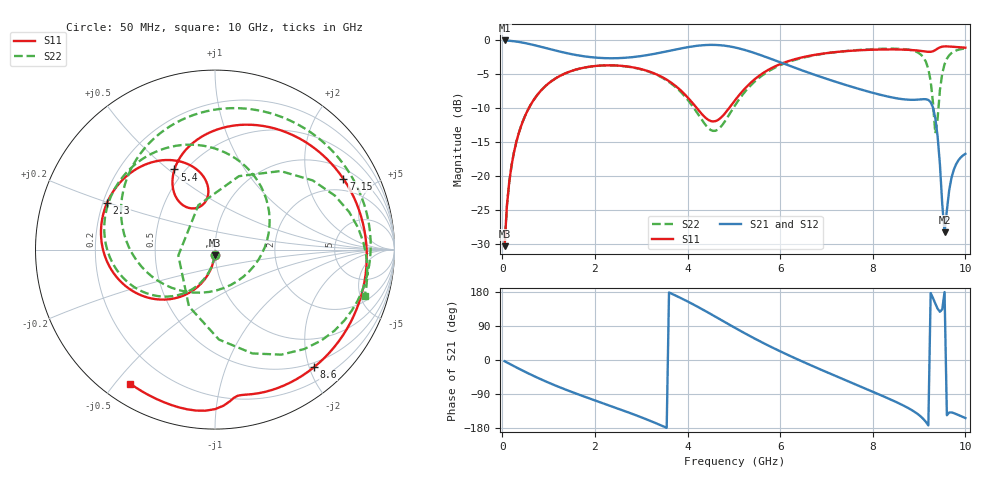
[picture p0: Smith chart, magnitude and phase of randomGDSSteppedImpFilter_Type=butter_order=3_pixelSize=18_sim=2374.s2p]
! freq	dB(S11)	phase(S11)	dB(S12)	phase(S12)
!  dB(S21)	phase(S21)	dB(S22)	phase(S22)
!S-par simulation data
#  GHz  S  DB  R 50
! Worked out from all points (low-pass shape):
!   200 points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, 50 MHz to 10 GHz, reference 50 ohm
!   highest |S21| = -0.01 dB at 50 MHz (marker M1); lowest = -28.3 dB at 9.55 GHz (marker M2)
!   |S21| within 3 dB of the highest: start of sweep to 5.915 GHz
!   lowest |S11| = -30.3 dB at 50 MHz (marker M3), VSWR 1.06, Z = 49.7 - j3.03 ohm
!   |S11| at or under -10 dB: start of sweep to 571.8 MHz; 4.203 GHz to 4.895 GHz (692.1 MHz wide, 15.2 % of centre)
!   |S22| runs from -30.3 to -1.2 dB; largest |S21 - S12| = 0
!   S11 on the Smith chart (normalised r, x): 50 MHz: 0.99, -0.06; 2.3 GHz: 0.22, +0.20; 5.4 GHz: 0.44, +0.52; 7.15 GHz: 1.41, +3.34; 8.6 GHz: 0.42, -2.07; 10 GHz: 0.08, -0.55
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0.05  -30.32 -93.3  -0.01 -3.3  -0.01 -3.3  -30.32 -93.5
0.2  -18.43 -103.1  -0.09 -12.9  -0.09 -12.9  -18.44 -103.9
0.5  -11.00 -121.0  -0.40 -31.6  -0.40 -31.6  -11.00 -123.3
1.75  -4.04 178.3  -2.33 -95.7  -2.33 -95.7  -4.04 169.4
2.3  -3.67 156.5  -2.63 -119.7  -2.63 -119.7  -3.68 143.3
3.4  -5.23 114.8  -1.83 -171.0  -1.83 -171.0  -5.30 83.8
4.2  -9.97 96.7  -0.80 141.7  -0.80 141.7  -10.59 10.3
5.05  -8.61 126.5  -1.08 83.2  -1.08 83.2  -9.32 -145.2
5.4  -6.02 116.9  -1.75 59.8  -1.75 59.8  -6.38 178.5
5.95  -3.64 91.6  -3.10 25.9  -3.10 25.9  -3.81 137.3
6.7  -2.19 52.9  -4.96 -15.9  -4.96 -15.9  -2.25 93.6
7.15  -1.76 28.8  -5.99 -39.7  -5.99 -39.7  -1.77 70.5
8.35  -1.33 -36.5  -8.31 -102.3  -8.31 -102.3  -1.22 11.5
8.6  -1.35 -50.0  -8.62 -116.4  -8.62 -116.4  -1.25 -2.5
8.95  -1.48 -68.4  -8.74 -140.7  -8.74 -140.7  -1.70 -28.7
9.15  -1.65 -77.7  -8.67 -163.8  -8.67 -163.8  -3.19 -57.7
9.25  -1.68 -81.2  -9.10 176.6  -9.10 176.6  -5.99 -87.5
9.35  -1.42 -84.4  -11.44 149.1  -11.44 149.1  -13.68 -170.9
9.45  -1.02 -90.0  -18.27 127.2  -18.27 127.2  -7.32 71.9
9.55  -0.89 -96.8  -28.29 179.3  -28.29 179.3  -3.51 35.3
9.7  -0.92 -106.0  -20.24 -138.3  -20.24 -138.3  -1.87 8.7
10  -1.07 -122.3  -16.71 -153.2  -16.71 -153.2  -1.18 -17.1
